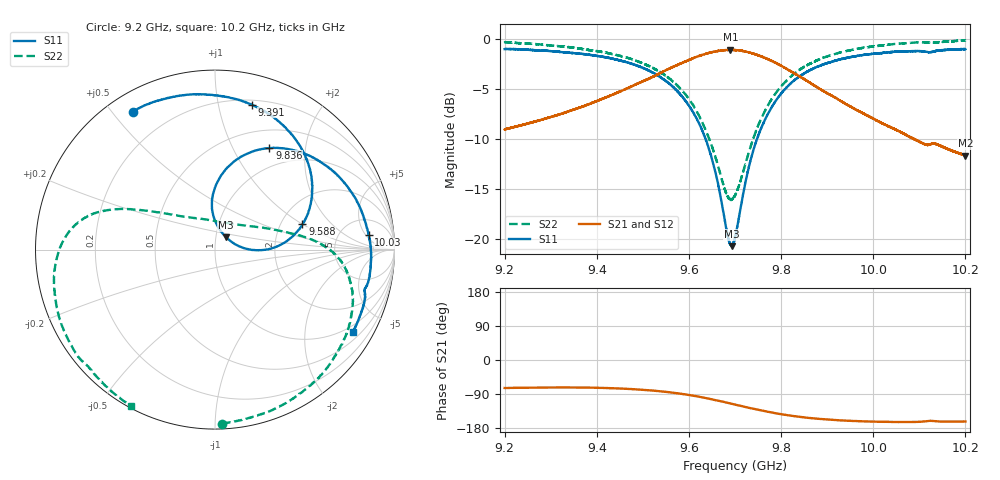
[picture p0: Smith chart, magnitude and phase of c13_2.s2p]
!Agilent Technologies,N5242A,MY51221714,A.09.90.19
!Agilent N5242A: A.09.90.19
!Date: Saturday, March 16, 2024 10:26:07
!Correction: S11(Full 2 Port(1,2))
!S21(Full 2 Port(1,2))
!S12(Full 2 Port(1,2))
!S22(Full 2 Port(1,2))
!S2P File: Measurements: S11, S21, S12, S22:
# Hz S  dB  R 50
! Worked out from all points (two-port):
!   16001 points, 9.2 GHz to 10.2 GHz, reference 50 ohm
!   highest |S21| = -1.05 dB at 9.69 GHz (marker M1); lowest = -11.7 dB at 10.2 GHz (marker M2)
!   |S21| within 3 dB of the highest: 9.50753 GHz to 9.507734 GHz (204.1 kHz wide, 0.00215 % of centre); 9.508 GHz to 9.852 GHz (343.9 MHz wide, 3.55 % of centre)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
!   lowest |S11| = -20.7 dB at 9.693 GHz (marker M3), VSWR 1.20, Z = 55.9 + j7.77 ohm
!   |S11| at or under -10 dB: 9.636 GHz to 9.748 GHz (111.3 MHz wide, 1.15 % of centre)
!   |S22| runs from -16.1 to -0.1 dB; largest |S21 - S12| = 0.011
!   S11 on the Smith chart (normalised r, x): 9.2 GHz: 0.07, +0.57; 9.391 GHz: 0.24, +1.26; 9.588 GHz: 2.62, +1.00; 9.836 GHz: 0.73, +1.40; 10.03 GHz: 10, +6; 10.2 GHz: 0.76, -3.46
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9.2e9  -0.97 120.8  -9.03 -73.9  -9.01 -74.6  -0.26 -87.6
9.277688e9  -1.11 103.1  -8.09 -72.7  -8.08 -73.1  -0.52 -66.0
9.366688e9  -1.45 82.0  -6.78 -72.8  -6.76 -73.2  -0.95 -42.3
9.39075e9  -1.59 75.8  -6.35 -73.0  -6.34 -73.6  -1.11 -36.1
9.461312e9  -2.25 56.6  -5.01 -75.9  -5.01 -76.4  -1.79 -19.5
9.533375e9  -3.64 34.6  -3.48 -81.9  -3.47 -82.4  -3.15 -4.4
9.587812e9  -5.89 16.2  -2.32 -90.0  -2.29 -90.6  -5.26 5.6
9.642562e9  -10.86 0.1  -1.37 -101.9  -1.36 -102.5  -9.78 21.1
9.678688e9  -18.37 12.9  -1.08 -111.5  -1.07 -112.0  -15.14 54.9
9.690125e9  -20.57 39.1  -1.05 -114.8  -1.05 -115.3  -16.07 77.7
9.693188e9  -20.73 48.6  -1.06 -115.6  -1.04 -116.1  -16.05 84.5
9.7e9  -19.88 66.7  -1.07 -117.5  -1.05 -118.1  -15.70 98.2
9.729562e9  -12.92 94.2  -1.30 -125.9  -1.28 -126.6  -11.38 136.0
9.753562e9  -9.26 90.0  -1.66 -132.3  -1.63 -132.9  -8.28 147.2
9.79675e9  -5.64 75.8  -2.56 -142.3  -2.56 -142.9  -4.89 156.5
9.83575e9  -3.85 61.8  -3.59 -149.3  -3.60 -149.8  -3.19 162.7
9.866688e9  -3.00 51.3  -4.47 -153.6  -4.46 -154.2  -2.35 167.6
9.949125e9  -1.79 26.6  -6.70 -160.5  -6.71 -161.0  -1.10 -177.2
1.003162e10  -1.30 5.4  -8.68 -163.2  -8.68 -163.9  -0.54 -159.4
1.003338e10  -1.30 5.0  -8.73 -163.3  -8.72 -163.8  -0.52 -158.9
1.010962e10  -1.20 -12.8  -10.48 -162.5  -10.48 -162.9  -0.29 -141.3
1.02e10  -0.98 -30.9  -11.65 -162.3  -11.64 -162.9  -0.11 -118.3
